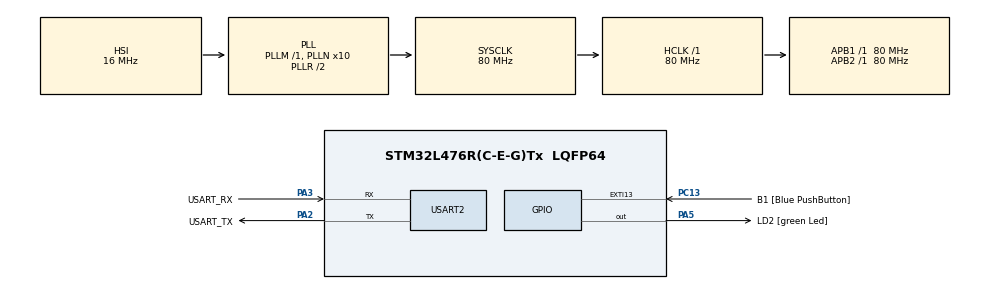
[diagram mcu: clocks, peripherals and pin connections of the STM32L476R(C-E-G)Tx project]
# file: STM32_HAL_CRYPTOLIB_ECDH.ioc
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Mcu.Family=STM32L4
Mcu.Name=STM32L476R(C-E-G)Tx
Mcu.Package=LQFP64
NVIC.PriorityGroup=NVIC_PRIORITYGROUP_4
PA13\ (JTMS-SWDIO).GPIO_Label=TMS
PA13\ (JTMS-SWDIO).Mode=Serial_Wire
PA13\ (JTMS-SWDIO).Signal=SYS_JTMS-SWDIO
PA14\ (JTCK-SWCLK).GPIO_Label=TCK
PA14\ (JTCK-SWCLK).Mode=Serial_Wire
PA14\ (JTCK-SWCLK).Signal=SYS_JTCK-SWCLK
PA2.GPIO_Label=USART_TX
PA2.GPIO_Mode=GPIO_MODE_AF_PP
PA2.GPIO_PuPd=GPIO_NOPULL
PA2.GPIO_Speed=GPIO_SPEED_FREQ_VERY_HIGH
PA2.Mode=Asynchronous
PA2.Signal=USART2_TX
PA3.GPIO_Label=USART_RX
PA3.GPIO_Mode=GPIO_MODE_AF_PP
PA3.GPIO_PuPd=GPIO_NOPULL
PA3.GPIO_Speed=GPIO_SPEED_FREQ_VERY_HIGH
PA3.Mode=Asynchronous
PA3.Signal=USART2_RX
PA5.GPIO_Label=LD2 [green Led]
PA5.GPIO_ModeDefaultOutputPP=GPIO_MODE_OUTPUT_PP
PA5.GPIO_PuPd=GPIO_NOPULL
PA5.GPIO_Speed=GPIO_SPEED_FREQ_LOW
PA5.Signal=GPIO_Output
PB3\ (JTDO-TRACESWO).GPIO_Label=SWO
PB3\ (JTDO-TRACESWO).Signal=SYS_JTDO-SWO
PC13.GPIO_Label=B1 [Blue PushButton]
PC13.GPIO_ModeDefaultEXTI=GPIO_MODE_IT_FALLING
PC13.GPIO_PuPd=GPIO_NOPULL
PC13.Signal=GPXTI13
PC14-OSC32_IN\ (PC14).Mode=LSE-External-Oscillator
PC14-OSC32_IN\ (PC14).Signal=RCC_OSC32_IN
PC15-OSC32_OUT\ (PC15).Mode=LSE-External-Oscillator
PC15-OSC32_OUT\ (PC15).Signal=RCC_OSC32_OUT
PH0-OSC_IN\ (PH0).Signal=RCC_OSC_IN
PH1-OSC_OUT\ (PH1).Signal=RCC_OSC_OUT
ProjectManager.HeapSize=0x200
ProjectManager.StackSize=0x400
ProjectManager.TargetToolchain=STM32CubeIDE
RCC.ADCFreq_Value=64000000
RCC.AHBFreq_Value=80000000
RCC.APB1Freq_Value=80000000
RCC.APB1TimFreq_Value=80000000
RCC.APB2Freq_Value=80000000
RCC.APB2TimFreq_Value=80000000
RCC.CortexFreq_Value=80000000
RCC.HCLKFreq_Value=80000000
RCC.HSE_VALUE=8000000
RCC.HSI_VALUE=16000000
RCC.MSI_VALUE=4000000
RCC.PLLN=10
RCC.PLLSourceVirtual=RCC_PLLSOURCE_HSI
RCC.PREFETCH_ENABLE=1
RCC.SYSCLKFreq_VALUE=80000000
RCC.SYSCLKSource=RCC_SYSCLKSOURCE_PLLCLK
RCC.USBFreq_Value=64000000
RCC.VCOOutputFreq_Value=160000000
USART2.VirtualMode-Asynchronous=VM_ASYNC
board=NUCLEO-L476RG

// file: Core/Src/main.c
/* USER CODE BEGIN Header */
/**
 ******************************************************************************
 * @file           : main.c
 * @brief          : Main program body
 ******************************************************************************
 * @attention
 *
 * Copyright (c) 2022 STMicroelectronics.
 * All rights reserved.
 *
 * This software is licensed under terms that can be found in the LICENSE file
 * in the root directory of this software component.
 * If no LICENSE file comes with this software, it is provided AS-IS.
 *
 ******************************************************************************
 */
/* USER CODE END Header */
#include "main.h"
#include "usart.h"
#include "gpio.h"

/* USER CODE BEGIN Includes */
#include <stdio.h>
#include <string.h>
#include <stdbool.h>
#include "cmox_crypto.h"
/* USER CODE END Includes */

void SystemClock_Config(void);

/* USER CODE BEGIN 0 */

//original test case
//pub key = 700c48f77f56584c5cc632ca65640db91b6bacce3a4df6b42ce7cc838833d287db71e509e3fd9b060ddb20ba5c51dcc5948d46fbf640dfe0441782cab85fa4ac
//priv key = 7d7dc5f71eb29ddaf80d6214632eeae03d9058af1fb6d22ed80badb62bc1a534
//secret = 46fc62106420ff012e54a434fbdd2d25ccc5852060561e68040dd7778997bd7b

//my test case
//alice_priv = 4b30e7bad96997b3e7803e9c1a8be4d98fdc73676b8fa15727e181457fd78f80
//bob_pub = 81e4a63a537d717aac12f2c2ccf81853433060179a07020aeb33be99552fe0b12a4cf3d0ec8b0191c62cf19521dedd48c7fca5d363eb1e79165ef73fb6053829
//secret = 0e154aafacdcd686fc35279299ff0b9f335ad24ab26e9d9ec2acbaf9fb3a9a89

int __io_putchar (int ch)
{
  HAL_UART_Transmit(&huart2, (uint8_t*)&ch, 1, HAL_MAX_DELAY);
  return ch;
}

void printHexArray(const uint8_t* arr, const size_t len)
{
  for(size_t i = 0; i < len; i++)
  {
    printf("%02X ", arr[i]);
  }

  printf("\r\n");
}

cmox_ecc_handle_t hECC;     //ECC context handle
uint8_t eccBuffer[2000];    //ECC working buffer

//alice private key
const uint8_t alicePrivKey[] =
{
    0x4b, 0x30, 0xe7, 0xba, 0xd9, 0x69, 0x97, 0xb3, 0xe7, 0x80, 0x3e, 0x9c, 0x1a, 0x8b, 0xe4, 0xd9,
    0x8f, 0xdc, 0x73, 0x67, 0x6b, 0x8f, 0xa1, 0x57, 0x27, 0xe1, 0x81, 0x45, 0x7f, 0xd7, 0x8f, 0x80
};

//bob public key
const uint8_t bobPubKey[] =
{
    0x81, 0xe4, 0xa6, 0x3a, 0x53, 0x7d, 0x71, 0x7a, 0xac, 0x12, 0xf2, 0xc2, 0xcc, 0xf8, 0x18, 0x53,
    0x43, 0x30, 0x60, 0x17, 0x9a, 0x07, 0x02, 0x0a, 0xeb, 0x33, 0xbe, 0x99, 0x55, 0x2f, 0xe0, 0xb1,
    0x2a, 0x4c, 0xf3, 0xd0, 0xec, 0x8b, 0x01, 0x91, 0xc6, 0x2c, 0xf1, 0x95, 0x21, 0xde, 0xdd, 0x48,
    0xc7, 0xfc, 0xa5, 0xd3, 0x63, 0xeb, 0x1e, 0x79, 0x16, 0x5e, 0xf7, 0x3f, 0xb6, 0x05, 0x38, 0x29
};

const uint8_t expectedSecret[] =
{
    0x0e, 0x15, 0x4a, 0xaf, 0xac, 0xdc, 0xd6, 0x86, 0xfc, 0x35, 0x27, 0x92, 0x99, 0xff, 0x0b, 0x9f,
    0x33, 0x5a, 0xd2, 0x4a, 0xb2, 0x6e, 0x9d, 0x9e, 0xc2, 0xac, 0xba, 0xf9, 0xfb, 0x3a, 0x9a, 0x89
};

//openssl returns 32 bytes but CMOX_ECC_SECP256R1_SECRET_LEN is 64 bytes???
uint8_t sharedSecret[CMOX_ECC_SECP256R1_SECRET_LEN] = {0,};

//make secret
bool MakeECDHSecret(uint8_t* secretBuffer)
{
  cmox_ecc_retval_t retVal;
  size_t outputLen;

  printf("Testing MakeECDHSecret.\r\n");

  //allocate resources
  cmox_ecc_construct(&hECC, CMOX_ECC256_MATH_FUNCS, eccBuffer, sizeof(eccBuffer));

  //make ECDH shared secret
  retVal = cmox_ecdh(
      &hECC,                      //ECC handle
      CMOX_ECC_CURVE_SECP256R1,   //SECP256R1 ECC curve
      alicePrivKey,               //private key
      sizeof(alicePrivKey),       //size of private key
      bobPubKey,                  //remote public key
      sizeof(bobPubKey),          //size of remote public key
      secretBuffer,               //secret buffer pointer
      &outputLen);                //size of secret

  //check the result
  if(retVal != CMOX_ECC_SUCCESS) return false;

  //clean up resources
  cmox_ecc_cleanup(&hECC);

  //openssl returns 32 bytes not 64 bytes
  printHexArray(sharedSecret, sizeof(expectedSecret));
  printf("\r\n");

  return true;
}

/* USER CODE END 0 */

int main(void)
{

  /* MCU Configuration--------------------------------------------------------*/

  /* Reset of all peripherals, Initializes the Flash interface and the Systick. */
  HAL_Init();

  /* Configure the system clock */
  SystemClock_Config();

  /* Initialize all configured peripherals */
  MX_GPIO_Init();
  MX_USART2_UART_Init();
  /* USER CODE BEGIN 2 */

  printf("Print alicePrivKey.\r\n");
  printHexArray((uint8_t*)alicePrivKey, sizeof(alicePrivKey));
  printf("\r\n");

  printf("Print bobPubKey.\r\n");
  printHexArray((uint8_t*)bobPubKey, sizeof(bobPubKey));
  printf("\r\n");

  printf("Print expectedSecret.\r\n");
  printHexArray((uint8_t*)expectedSecret, sizeof(expectedSecret));
  printf("\r\n");

  //initialize cmox
  if(cmox_initialize(NULL) != CMOX_INIT_SUCCESS)
  {
    Error_Handler();
  }

  //test ECDH
  if(!MakeECDHSecret(sharedSecret))
  {
    Error_Handler();
  }
  else
  {
    if(memcmp(sharedSecret, expectedSecret, sizeof(expectedSecret)) != 0)
    {
      Error_Handler();
    }
  }

  //finalize cmox
  if (cmox_finalize(NULL) != CMOX_INIT_SUCCESS)
  {
    Error_Handler();
  }

  /* USER CODE END 2 */

  /* Infinite loop */
  while (1)
  {

  }
}

void SystemClock_Config(void)
{
  RCC_OscInitTypeDef RCC_OscInitStruct = {0};
  RCC_ClkInitTypeDef RCC_ClkInitStruct = {0};

  /** Configure the main internal regulator output voltage
   */
  if (HAL_PWREx_ControlVoltageScaling(PWR_REGULATOR_VOLTAGE_SCALE1) != HAL_OK)
  {
    Error_Handler();
  }

  /** Initializes the RCC Oscillators according to the specified parameters
   * in the RCC_OscInitTypeDef structure.
   */
  RCC_OscInitStruct.OscillatorType = RCC_OSCILLATORTYPE_HSI;
  RCC_OscInitStruct.HSIState = RCC_HSI_ON;
  RCC_OscInitStruct.HSICalibrationValue = RCC_HSICALIBRATION_DEFAULT;
  RCC_OscInitStruct.PLL.PLLState = RCC_PLL_ON;
  RCC_OscInitStruct.PLL.PLLSource = RCC_PLLSOURCE_HSI;
  RCC_OscInitStruct.PLL.PLLM = 1;
  RCC_OscInitStruct.PLL.PLLN = 10;
  RCC_OscInitStruct.PLL.PLLP = RCC_PLLP_DIV7;
  RCC_OscInitStruct.PLL.PLLQ = RCC_PLLQ_DIV2;
  RCC_OscInitStruct.PLL.PLLR = RCC_PLLR_DIV2;
  if (HAL_RCC_OscConfig(&RCC_OscInitStruct) != HAL_OK)
  {
    Error_Handler();
  }

  /** Initializes the CPU, AHB and APB buses clocks
   */
  RCC_ClkInitStruct.ClockType = RCC_CLOCKTYPE_HCLK|RCC_CLOCKTYPE_SYSCLK
      |RCC_CLOCKTYPE_PCLK1|RCC_CLOCKTYPE_PCLK2;
  RCC_ClkInitStruct.SYSCLKSource = RCC_SYSCLKSOURCE_PLLCLK;
  RCC_ClkInitStruct.AHBCLKDivider = RCC_SYSCLK_DIV1;
  RCC_ClkInitStruct.APB1CLKDivider = RCC_HCLK_DIV1;
  RCC_ClkInitStruct.APB2CLKDivider = RCC_HCLK_DIV1;

  if (HAL_RCC_ClockConfig(&RCC_ClkInitStruct, FLASH_LATENCY_4) != HAL_OK)
  {
    Error_Handler();
  }
}

void Error_Handler(void)
{
  /* USER CODE BEGIN Error_Handler_Debug */
  /* User can add his own implementation to report the HAL error return state */
  __disable_irq();
  while (1)
  {
    HAL_GPIO_WritePin(LD2_GPIO_Port, LD2_Pin, GPIO_PIN_SET);
  }
  /* USER CODE END Error_Handler_Debug */
}
